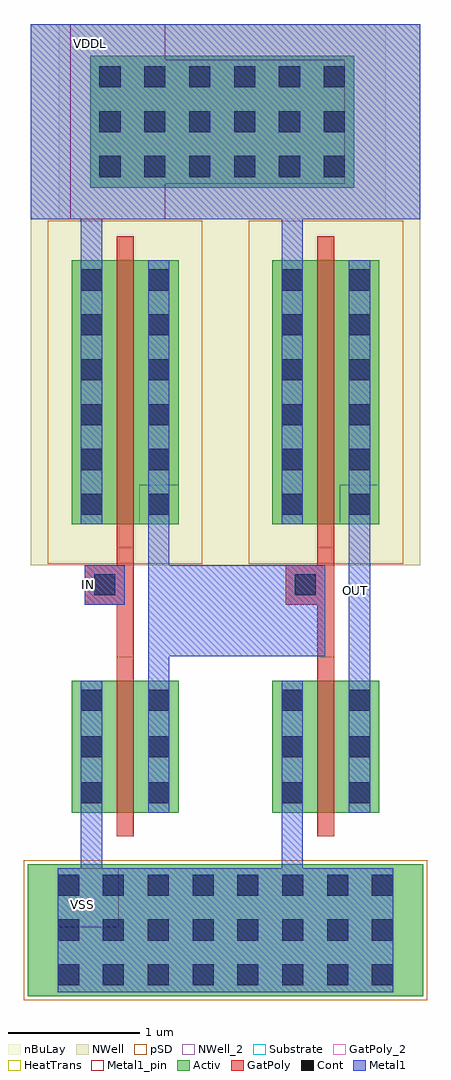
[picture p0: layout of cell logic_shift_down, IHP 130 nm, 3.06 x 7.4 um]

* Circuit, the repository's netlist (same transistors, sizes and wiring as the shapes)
** sch_path: /home/designer/shared/designs/SSDOR_1.2V_v3/components/logic_shift_down/logic_shift_down.sch
.subckt logic_shift_down VDDL IN OUT VSS
*.PININFO IN:I OUT:O VDDL:B VSS:B
MM1 net1 IN VDDL well sg13_lv_pmos w=2u l=0.13u ng=1 m=1
MM2 net1 IN VSS VSS sg13_lv_nmos w=1u l=0.13u ng=1 m=1
MM3 OUT net1 VDDL well sg13_lv_pmos w=2u l=0.13u ng=1 m=1
MM4 OUT net1 VSS VSS sg13_lv_nmos w=1u l=0.13u ng=1 m=1
RR1 VDDL well ntap1 A=2e-12 P=6e-06
.ends

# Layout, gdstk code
import gdstk
lib = gdstk.Library(unit=1e-6, precision=5e-09)
def R(c, l, rs):  # rectangles x0, y0, x1, y1
    for r in rs: c.add(gdstk.rectangle(r[:2], r[2:], *l))
def A(c, l, x, y, w, h, nx, ny, dx, dy):  # array of equal rectangles
    R(c, l, [(x+i*dx, y+j*dy, x+i*dx+w, y+j*dy+h) for i in range(nx) for j in range(ny)])
def P(c, l, *ps):  # polygons
    for p in ps: c.add(gdstk.Polygon(p, *l))
Activ = (1, 0)
GatPoly = (5, 0)
GatPoly_2 = (5, 2)
Cont = (6, 0)
Metal1 = (8, 0)
Metal1_pin = (8, 2)
pSD = (14, 0)
NWell = (31, 0)
NWell_2 = (31, 2)
nBuLay = (32, 0)
Substrate = (40, 0)
HeatTrans = (51, 0)

pmos = lib.new_cell('pmos')
R(pmos, Activ, [(0,0,0.3,0.3), (0,0,0.81,2), (0.51,0,0.81,0.3)])
R(pmos, GatPoly, [(0.34,-0.18,0.47,2.18), (0.34,-0.18,0.47,2.18)])
A(pmos, Cont, 0.07, 0.07, 0.16, 0.16, 1, 6, 0, 0.34)
A(pmos, Cont, 0.58, 0.07, 0.16, 0.16, 1, 6, 0, 0.34)
R(pmos, Metal1, [(0.07,0,0.23,2), (0.07,0,0.23,2), (0.58,0,0.74,2), (0.58,0,0.74,2)])
R(pmos, pSD, [(-0.18,-0.3,0.99,2.3)])
R(pmos, NWell, [(-0.31,-0.31,1.12,2.31)])
R(pmos, Substrate, [(0.51,0,0.81,0.3)])
R(pmos, HeatTrans, [(0.34,-0.18,0.47,2.18)])
pmos.add(gdstk.Label('pmos', (0.405,1), layer=63, texttype=0))
pmos.add(gdstk.Label('pmos', (0.405,1), layer=51, texttype=0))

nmos = lib.new_cell('nmos')
R(nmos, Activ, [(0,0,0.3,0.3), (0,0,0.81,1), (0.51,0,0.81,0.3)])
R(nmos, GatPoly, [(0.34,-0.18,0.47,1.18)])
R(nmos, GatPoly_2, [(0.34,-0.18,0.47,1.18)])
A(nmos, Cont, 0.07, 0.07, 0.16, 0.16, 1, 3, 0, 0.35)
A(nmos, Cont, 0.58, 0.07, 0.16, 0.16, 1, 3, 0, 0.35)
R(nmos, Metal1, [(0.07,0,0.23,1), (0.58,0,0.74,1)])
R(nmos, Metal1_pin, [(0.07,0,0.23,1), (0.58,0,0.74,1)])
R(nmos, HeatTrans, [(0.34,-0.18,0.47,1.18)])
nmos.add(gdstk.Label('nmos', (0.405,0.5), layer=63, texttype=0))
nmos.add(gdstk.Label('nmos', (0.405,0.5), layer=51, texttype=0))

ntap1_1 = lib.new_cell('ntap1$1')
R(ntap1_1, Activ, [(0,0,2,1)])
A(ntap1_1, Cont, 0.07, 0.08, 0.16, 0.16, 6, 3, 0.34, 0.34)
R(ntap1_1, Metal1, [(0.07,0.03,1.93,0.97)])
R(ntap1_1, Metal1_pin, [(0.07,0.03,1.93,0.97), (0.07,0.08,1.93,0.92)])
R(ntap1_1, NWell, [(-0.24,-0.24,2.24,1.24), (0,0,2,1)])
R(ntap1_1, NWell_2, [(0,0,2,1)])
R(ntap1_1, nBuLay, [(-0.24,-0.24,2.24,1.24)])
ntap1_1.add(gdstk.Label('well', (1,0.01), layer=31, texttype=0))
ntap1_1.add(gdstk.Label('well', (1,0.01), layer=63, texttype=0))

logic_shift_down = lib.new_cell('logic_shift_down')
R(logic_shift_down, Activ, [(0.32,2.805,3.32,3.805)])
R(logic_shift_down, GatPoly, [(0.995,4.41,1.125,8.56), (2.515,4.41,2.645,8.56), (0.755,5.77,1.055,6.07), (2.275,5.77,2.575,6.07)])
A(logic_shift_down, Cont, 0.55, 2.885, 0.16, 0.16, 8, 3, 0.34, 0.34)
R(logic_shift_down, Cont, [(0.825,5.84,0.985,6), (2.345,5.84,2.505,6)])
R(logic_shift_down, Metal1, [(0.55,2.835,3.09,3.775), (0.725,3.645,0.885,5.125), (2.245,3.645,2.405,5.125), (2.755,4.66,2.915,8.31), (0.755,5.77,1.055,6.07), (0.725,6.38,0.885,9.12), (2.245,6.38,2.405,9.14), (0.345,8.69,3.295,10.17)])
P(logic_shift_down, Metal1, [(1.235,4.59),(1.235,8.38),(1.395,8.38),(1.395,6.07),(2.575,6.07),(2.575,5.38),(1.395,5.38),(1.395,4.59)])
R(logic_shift_down, Metal1_pin, [(0.55,3.325,1.01,3.775), (2.755,4.59,2.915,8.38), (0.755,5.77,1.055,6.07), (0.645,8.69,1.365,10.17)])
R(logic_shift_down, pSD, [(0.29,2.775,3.35,3.835)])
R(logic_shift_down, NWell, [(0.345,6.07,3.295,10.17)])
logic_shift_down.add(gdstk.Reference(pmos, (0.655,6.38)))
logic_shift_down.add(gdstk.Reference(nmos, (2.175,4.195)))
logic_shift_down.add(gdstk.Reference(pmos, (2.175,6.38)))
logic_shift_down.add(gdstk.Reference(nmos, (0.655,4.195)))
logic_shift_down.add(gdstk.Reference(ntap1_1, (0.795,8.93)))
logic_shift_down.add(gdstk.Label('VSS', (0.735,3.495), layer=8, texttype=25))
logic_shift_down.add(gdstk.Label('VDDL', (0.795,10.02), layer=8, texttype=25))
logic_shift_down.add(gdstk.Label('OUT', (2.805,5.875), layer=8, texttype=25))
logic_shift_down.add(gdstk.Label('IN', (0.785,5.92), layer=8, texttype=25))

lib.write_gds('logic_shift_down.gds')
